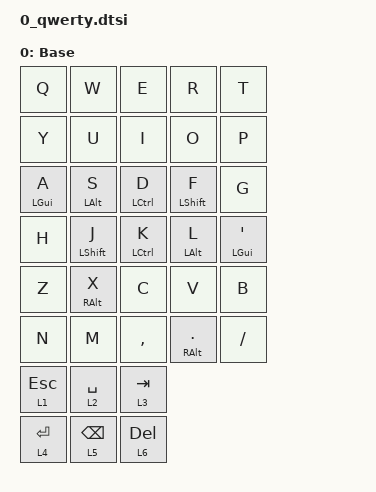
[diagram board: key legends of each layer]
/ {
	keymap {
        compatible = "zmk,keymap";
		BASE_LAYER {
			label = "Base";
			bindings = <
            // TOP ROW - keys 0 to 9
                &kp Q       &kp W       &kp E       &kp R       &kp T
                &kp Y       &kp U       &kp I       &kp O       &kp P 

            // MIDDLE ROW - keys 10 to 19
                &hm LGUI A  &hm LALT S  &hm LCTL D  &hm LSHFT F &kp G
                &kp H       &hm LSHFT J &hm LCTL K  &hm LALT L  &hm LGUI SQT 

            // BOTTOM ROW - keys 20 to 29
                &kp Z       &hm RALT X  &kp C       &kp V       &kp B
                &kp N       &kp M       &kp COMMA   &hm RALT DOT &kp FSLH 

            // THUMB ROW - keys 30 to 36
                &lt 1 ESC   &lt 2 SPACE &lt 3 TAB
                &lt 4 RET   &lt 5 BSPC  &lt 6 DEL
			>;
		};	
	};
};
